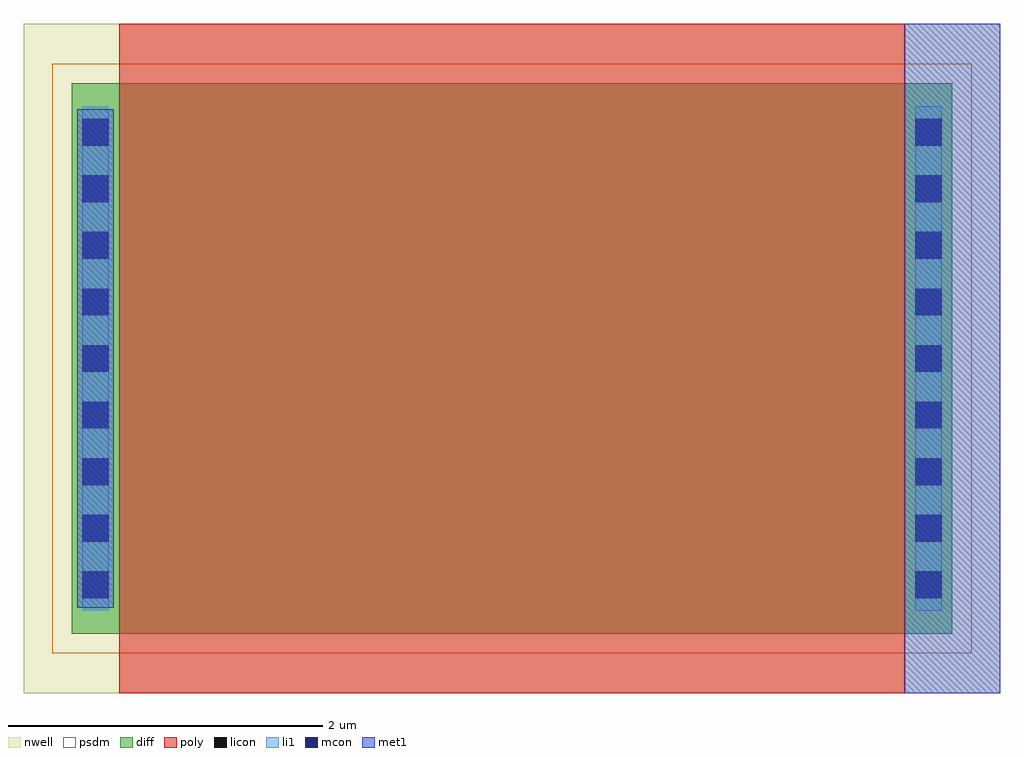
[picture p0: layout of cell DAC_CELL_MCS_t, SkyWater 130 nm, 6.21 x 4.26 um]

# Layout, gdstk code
import gdstk
lib = gdstk.Library(unit=1e-6, precision=1e-09)
def R(c, l, rs):  # rectangles x0, y0, x1, y1
    for r in rs: c.add(gdstk.rectangle(r[:2], r[2:], *l))
def A(c, l, x, y, w, h, nx, ny, dx, dy):  # array of equal rectangles
    R(c, l, [(x+i*dx, y+j*dy, x+i*dx+w, y+j*dy+h) for i in range(nx) for j in range(ny)])
nwell = (64, 20)
diff = (65, 20)
poly = (66, 20)
licon = (66, 44)
li1 = (67, 20)
mcon = (67, 44)
met1 = (68, 20)
psdm = (94, 20)

dac_cell_mcs_t = lib.new_cell('DAC_CELL_MCS_t')
R(dac_cell_mcs_t, nwell, [(-0.305,-0.38,5.905,3.88)])
R(dac_cell_mcs_t, diff, [(0,0,5.6,3.5)])
R(dac_cell_mcs_t, poly, [(0.3,-0.38,5.3,3.88)])
A(dac_cell_mcs_t, licon, 0.065, 0.225, 0.17, 0.17, 1, 9, 0, 0.36)
A(dac_cell_mcs_t, licon, 5.365, 0.225, 0.17, 0.17, 1, 9, 0, 0.36)
R(dac_cell_mcs_t, li1, [(0.065,0.145,0.235,3.355), (5.365,0.145,5.535,3.355)])
A(dac_cell_mcs_t, mcon, 0.065, 0.225, 0.17, 0.17, 1, 9, 0, 0.36)
A(dac_cell_mcs_t, mcon, 5.365, 0.225, 0.17, 0.17, 1, 9, 0, 0.36)
R(dac_cell_mcs_t, met1, [(5.3,-0.38,5.905,3.88), (0.035,0.165,0.265,3.335), (5.335,0.165,5.565,3.335)])
R(dac_cell_mcs_t, psdm, [(-0.125,-0.125,5.725,3.625)])

lib.write_gds('DAC_CELL_MCS_t.gds')
